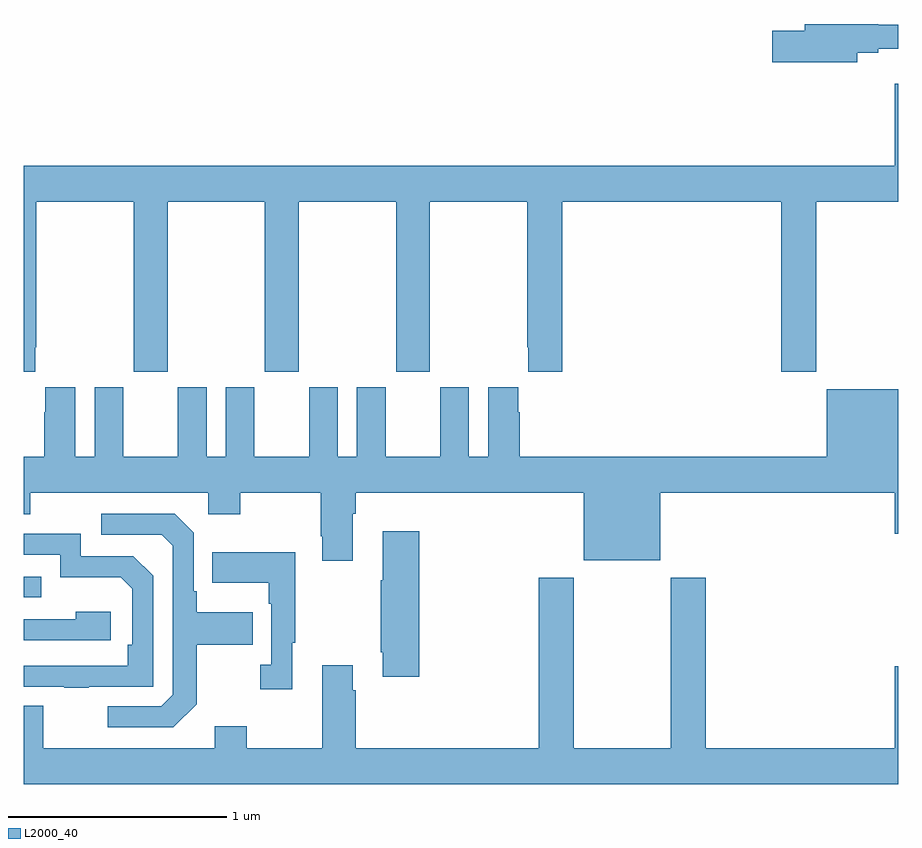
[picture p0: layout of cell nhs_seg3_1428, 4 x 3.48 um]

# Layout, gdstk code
import gdstk
lib = gdstk.Library(unit=1e-6, precision=1e-09)
def R(c, l, rs):  # rectangles x0, y0, x1, y1
    for r in rs: c.add(gdstk.rectangle(r[:2], r[2:], *l))
def P(c, l, *ps):  # polygons
    for p in ps: c.add(gdstk.Polygon(p, *l))
L2000_40 = (2000, 40)

nhs_seg3_1428 = lib.new_cell('nhs_seg3_1428')
R(nhs_seg3_1428, L2000_40, [(185,693.777,185.081,693.873)])
P(nhs_seg3_1428, L2000_40, [(188.812,696.268),(188.908,696.268),(188.908,696.287),(189,696.287),(189,696.397),(188.908,696.397),(188.908,696.4),(188.573,696.4),(188.573,696.368),(188.424,696.368),(188.424,696.226),(188.812,696.226)],
  [(185,694.809),(185.053,694.809),(185.053,694.921),(185.058,694.921),(185.058,695.588),(185.503,695.588),(185.503,694.809),(185.658,694.809),(185.658,695.588),(186.103,695.588),(186.103,694.809),(186.258,694.809),(186.258,695.588),(186.703,695.588),(186.703,694.809),(186.858,694.809),(186.858,695.588),(187.303,695.588),(187.303,694.921),(187.307,694.921),(187.307,694.809),(187.463,694.809),(187.463,695.588),(188.465,695.588),(188.465,694.809),(188.625,694.809),(188.625,695.588),(189,695.588),(189,696.127),(188.984,696.127),(188.984,695.752),(185,695.752)],
  [(186.505,694.16),(186.518,694.16),(186.518,694.256),(187.562,694.256),(187.562,693.947),(187.912,693.947),(187.912,694.256),(188.984,694.256),(188.984,694.068),(189,694.068),(189,694.729),(188.672,694.729),(188.672,694.42),(187.268,694.42),(187.268,694.625),(187.261,694.625),(187.261,694.738),(187.124,694.738),(187.124,694.42),(187.036,694.42),(187.036,694.738),(186.905,694.738),(186.905,694.42),(186.655,694.42),(186.655,694.738),(186.524,694.738),(186.524,694.42),(186.436,694.42),(186.436,694.738),(186.305,694.738),(186.305,694.42),(186.055,694.42),(186.055,694.738),(185.924,694.738),(185.924,694.42),(185.836,694.42),(185.836,694.738),(185.705,694.738),(185.705,694.42),(185.455,694.42),(185.455,694.738),(185.324,694.738),(185.324,694.42),(185.236,694.42),(185.236,694.738),(185.099,694.738),(185.099,694.625),(185.093,694.625),(185.093,694.42),(185,694.42),(185,694.157),(185.031,694.157),(185.031,694.256),(185.844,694.256),(185.844,694.157),(185.991,694.157),(185.991,694.256),(186.358,694.256),(186.358,694.057),(186.365,694.057),(186.365,693.945),(186.505,693.945)],
  [(185.791,693.289),(185.791,693.562),(186.047,693.562),(186.047,693.709),(185.791,693.709),(185.791,693.805),(185.778,693.805),(185.778,694.074),(185.691,694.161),(185.355,694.161),(185.355,694.065),(185.631,694.065),(185.682,694.014),(185.682,693.333),(185.628,693.279),(185.385,693.279),(185.385,693.183),(185.685,693.183)],
  [(186.809,694.081),(186.641,694.081),(186.641,693.857),(186.634,693.857),(186.634,693.526),(186.641,693.526),(186.641,693.414),(186.809,693.414)],
  [(185.297,693.369),(185.592,693.369),(185.592,693.876),(185.502,693.966),(185.262,693.966),(185.262,694.068),(185,694.068),(185,693.972),(185.166,693.972),(185.166,693.869),(185.443,693.869),(185.496,693.816),(185.496,693.562),(185.476,693.562),(185.476,693.465),(185,693.465),(185,693.369),(185.185,693.369),(185.185,693.364),(185.297,693.364)],
  [(186.229,693.569),(186.241,693.569),(186.241,693.985),(185.863,693.985),(185.863,693.845),(186.12,693.845),(186.12,693.749),(186.132,693.749),(186.132,693.47),(186.081,693.47),(186.081,693.357),(186.229,693.357)],
  [(189,693.463),(188.984,693.463),(188.984,693.088),(188.12,693.088),(188.12,693.868),(187.96,693.868),(187.96,693.088),(187.515,693.088),(187.515,693.868),(187.355,693.868),(187.355,693.088),(186.518,693.088),(186.518,693.353),(186.505,693.353),(186.505,693.466),(186.365,693.466),(186.365,693.088),(186.021,693.088),(186.021,693.187),(185.873,693.187),(185.873,693.088),(185.089,693.088),(185.089,693.283),(185,693.283),(185,692.924),(189,692.924)],
  [(185.398,693.712),(185.237,693.712),(185.237,693.678),(185,693.678),(185,693.582),(185.398,693.582)])

lib.write_gds('nhs_seg3_1428.gds')
